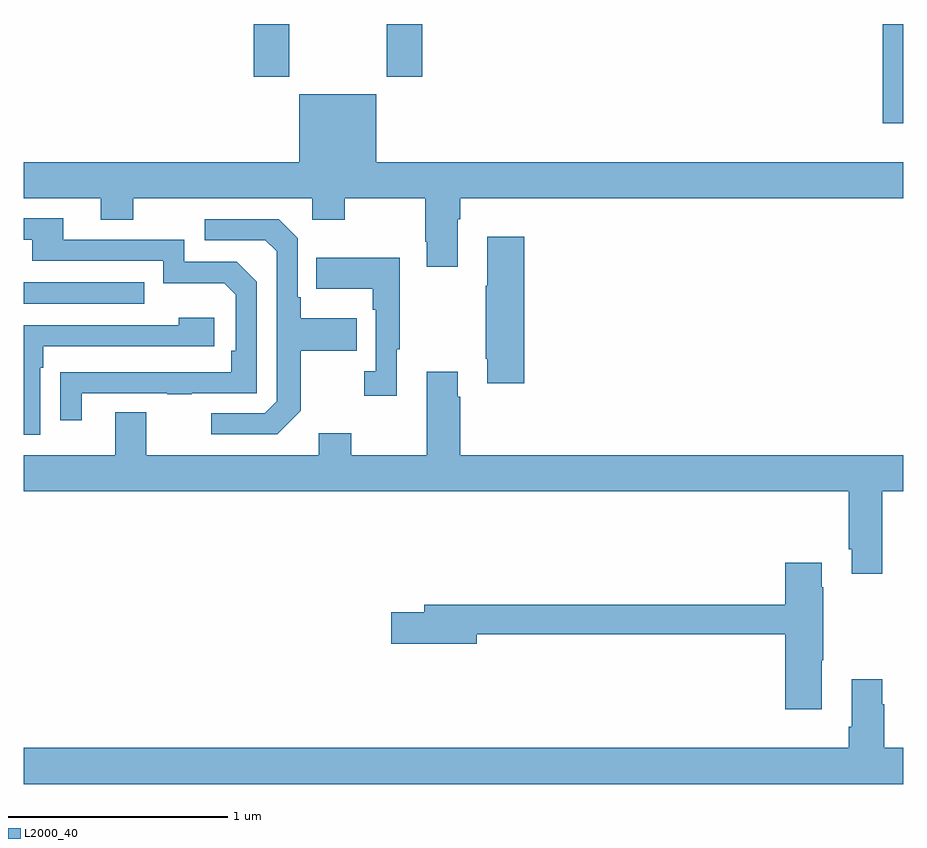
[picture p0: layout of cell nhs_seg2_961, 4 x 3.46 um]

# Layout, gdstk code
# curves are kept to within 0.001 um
import gdstk
lib = gdstk.Library(unit=1e-6, precision=1e-09)
def R(c, l, rs):  # rectangles x0, y0, x1, y1
    for r in rs: c.add(gdstk.rectangle(r[:2], r[2:], *l))
def P(c, l, *ps):  # polygons
    for p in ps: c.add(gdstk.Polygon(p, *l))
L2000_40 = (2000, 40)

nhs_seg2_961 = lib.new_cell('nhs_seg2_961')
R(nhs_seg2_961, L2000_40, [(161,608.529,161.549,608.625), (164.906,609.348,165,609.8), (162.047,609.561,162.207,609.8), (162.652,609.561,162.812,609.8)])
P(nhs_seg2_961, L2000_40, [(162.973,608.912),(162.986,608.912),(162.986,609.008),(165,609.008),(165,609.172),(162.604,609.172),(162.604,609.481),(162.254,609.481),(162.254,609.172),(161,609.172),(161,609.008),(161.351,609.008),(161.351,608.909),(161.499,608.909),(161.499,609.008),(162.312,609.008),(162.312,608.909),(162.459,608.909),(162.459,609.008),(162.826,609.008),(162.826,608.809),(162.833,608.809),(162.833,608.697),(162.973,608.697)],
  [(161.263,608.121),(161.653,608.121),(161.653,608.116),(161.765,608.116),(161.765,608.121),(162.06,608.121),(162.06,608.628),(161.97,608.718),(161.73,608.718),(161.73,608.82),(161.179,608.82),(161.179,608.916),(161,608.916),(161,608.82),(161.039,608.82),(161.039,608.724),(161.634,608.724),(161.634,608.621),(161.911,608.621),(161.964,608.568),(161.964,608.314),(161.944,608.314),(161.944,608.217),(161.167,608.216),(161.167,607.998),(161.263,607.998)],
  [(162.259,608.041),(162.259,608.314),(162.515,608.314),(162.515,608.461),(162.259,608.461),(162.259,608.557),(162.246,608.557),(162.246,608.826),(162.159,608.913),(161.823,608.913),(161.823,608.817),(162.099,608.817),(162.15,608.766),(162.15,608.085),(162.096,608.031),(161.853,608.031),(161.853,607.935),(162.153,607.935)],
  [(163.277,608.833),(163.109,608.833),(163.109,608.609),(163.102,608.609),(163.102,608.278),(163.109,608.278),(163.109,608.166),(163.277,608.166)],
  [(162.697,608.321),(162.709,608.321),(162.709,608.737),(162.331,608.737),(162.331,608.597),(162.588,608.597),(162.588,608.501),(162.6,608.501),(162.6,608.222),(162.549,608.222),(162.549,608.109),(162.697,608.109)],
  [(161.076,608.237),(161.089,608.237),(161.089,608.334),(161.866,608.334),(161.866,608.464),(161.705,608.464),(161.705,608.43),(161,608.43),(161,607.932),(161.076,607.932)],
  [(164.905,607.676),(165,607.676),(165,607.84),(162.986,607.84),(162.986,608.105),(162.973,608.105),(162.973,608.218),(162.833,608.218),(162.833,607.84),(162.489,607.84),(162.489,607.939),(162.341,607.939),(162.341,607.84),(161.557,607.84),(161.557,608.035),(161.417,608.035),(161.417,607.84),(161,607.84),(161,607.676),(164.753,607.676),(164.753,607.411),(164.765,607.411),(164.765,607.299),(164.905,607.299)],
  [(164.629,606.907),(164.637,606.907),(164.637,607.238),(164.629,607.238),(164.629,607.351),(164.462,607.351),(164.462,607.16),(162.821,607.16),(162.821,607.124),(162.672,607.124),(162.672,606.982),(163.06,606.982),(163.06,607.024),(164.462,607.024),(164.462,606.684),(164.629,606.684)],
  [(165,606.508),(164.913,606.508),(164.913,606.707),(164.905,606.707),(164.905,606.82),(164.765,606.82),(164.765,606.604),(164.753,606.604),(164.753,606.508),(161,606.508),(161,606.344),(165,606.344)])

lib.write_gds('nhs_seg2_961.gds')
